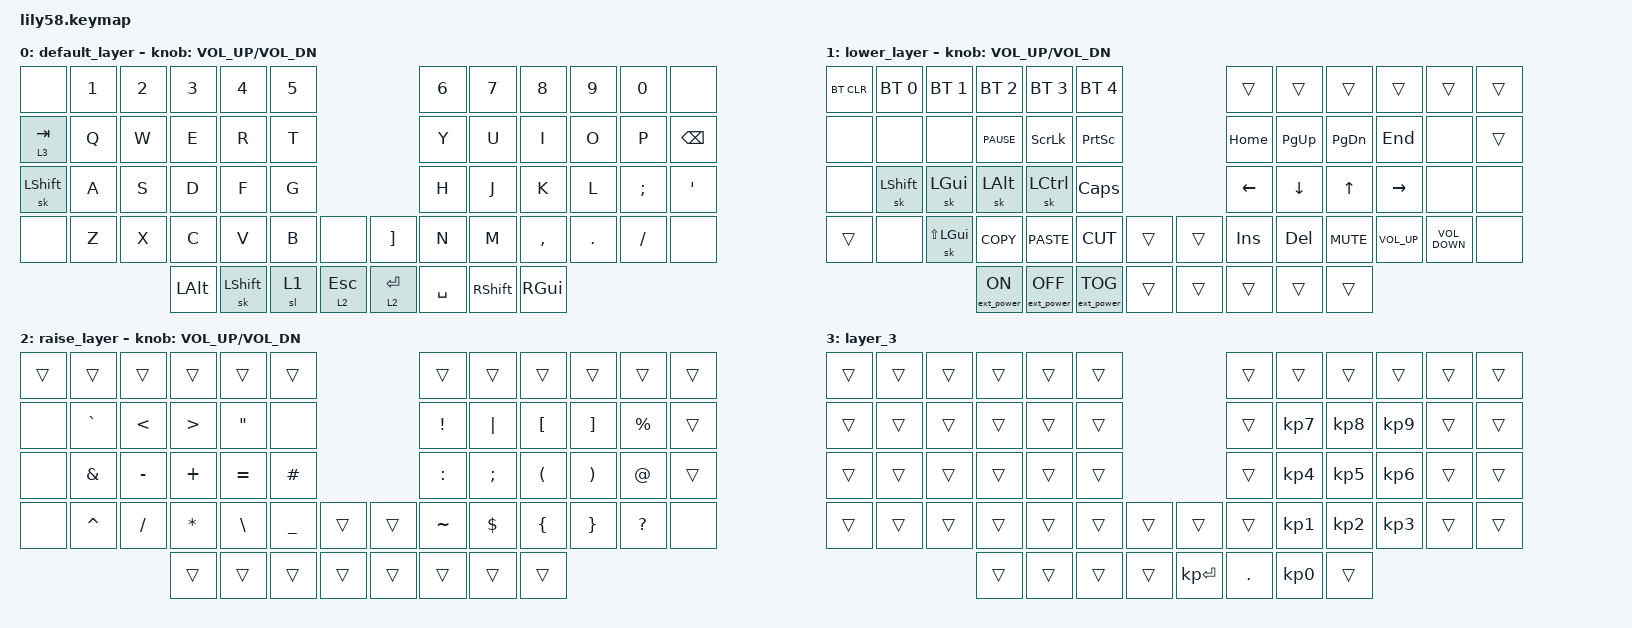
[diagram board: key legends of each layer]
/*
 * Copyright (c) 2020 The ZMK Contributors
 *
 * SPDX-License-Identifier: MIT
 */

#include <behaviors.dtsi>
#include <dt-bindings/zmk/bt.h>
#include <dt-bindings/zmk/ext_power.h>
#include <dt-bindings/zmk/keys.h>

/ {
    combos {
        compatible = "zmk,combos";

        leftctl {
            bindings = <&kp LEFT_CONTROL>;
            key-positions = <28 27>;
        };
    };

    keymap {
        compatible = "zmk,keymap";

        default_layer {
            // ------------------------------------------------------------------------------------------------------------
            // |  ESC  |  1  |  2  |  3   |  4   |  5   |                   |  6   |  7    |  8    |  9   |   0   |   `   |
            // |  TAB  |  Q  |  W  |  E   |  R   |  T   |                   |  Y   |  U    |  I    |  O   |   P   |   -   |
            // |  CTRL |  A  |  S  |  D   |  F   |  G   |                   |  H   |  J    |  K    |  L   |   ;   |   '   |
            // | SHIFT |  Z  |  X  |  C   |  V   |  B   |   "["  |  |  "]"  |  N   |  M    |  ,    |  .   |   /   | SHIFT |
            //                     | ALT  | GUI  | LOWER|  SPACE |  | ENTER | RAISE| BSPC  | GUI   |

            bindings = <
&none           &kp N1  &kp N2  &kp N3    &kp N4          &kp N5                               &kp N6     &kp N7           &kp N8     &kp N9   &kp N0    &none
&lt 3 TAB       &kp Q   &kp W   &kp E     &kp R           &kp T                                &kp Y      &kp U            &kp I      &kp O    &kp P     &kp BACKSPACE
&sk LEFT_SHIFT  &kp A   &kp S   &kp D     &kp F           &kp G                                &kp H      &kp J            &kp K      &kp L    &kp SEMI  &kp SQT
&none           &kp Z   &kp X   &kp C     &kp V           &kp B   &none           &kp RBKT     &kp N      &kp M            &kp COMMA  &kp DOT  &kp FSLH  &none
                                &kp LALT  &sk LEFT_SHIFT  &sl 1   &lt 2 ESCAPE    &lt 2 ENTER  &kp SPACE  &kp RIGHT_SHIFT  &kp RGUI
            >;

            sensor-bindings = <&inc_dec_kp C_VOL_UP C_VOL_DN>;
        };

        lower_layer {
            // ------------------------------------------------------------------------------------------------------------
            // | BTCLR | BT1 | BT2 |  BT3 |  BT4 |  BT5 |                   |      |       |       |      |       |       |
            // |  F1   |  F2 |  F3 |  F4  |  F5  |  F6  |                   |  F7  |  F8   |  F9   |  F10 |  F11  |  F12  |
            // |   `   |  !  |  @  |  #   |  $   |  %   |                   |  ^   |  &    |  *    |  (   |   )   |   ~   |
            // |       |     |     |      |      |      |        |  |       |      |  _    |  +    |  {   |   }   |  "|"  |
            //                     |      |      |      |        |  |       |      |       |       |

            bindings = <
&bt BT_CLR  &bt BT_SEL 0    &bt BT_SEL 1      &bt BT_SEL 2      &bt BT_SEL 3       &bt BT_SEL 4                         &trans          &trans      &trans         &trans           &trans             &trans
&none       &none           &none             &kp C_PAUSE       &kp SCROLLLOCK     &kp PRINTSCREEN                      &kp HOME        &kp PG_UP   &kp PAGE_DOWN  &kp END          &none              &trans
&none       &sk LEFT_SHIFT  &sk LEFT_GUI      &sk LEFT_ALT      &sk LEFT_CONTROL   &kp CAPSLOCK                         &kp LEFT_ARROW  &kp DOWN    &kp UP_ARROW   &kp RIGHT        &none              &none
&trans      &none           &sk LS(LEFT_GUI)  &kp K_COPY        &kp K_PASTE        &kp K_CUT          &trans    &trans  &kp INS         &kp DELETE  &kp C_MUTE     &kp C_VOLUME_UP  &kp C_VOLUME_DOWN  &none
                                              &ext_power EP_ON  &ext_power EP_OFF  &ext_power EP_TOG  &trans    &trans  &trans          &trans      &trans
            >;

            sensor-bindings = <&inc_dec_kp C_VOL_UP C_VOL_DN>;
        };

        raise_layer {
            // ------------------------------------------------------------------------------------------------------------
            // |       |     |     |      |      |      |                   |      |       |       |      |       |       |
            // |   `   |  1  |  2  |  3   |  4   |  5   |                   |  6   |   7   |   8   |  9   |   0   |       |
            // |   F1  |  F2 |  F3 |  F4  |  F5  |  F6  |                   |      |   <-  |   v   |  ^   |  ->   |       |
            // |   F7  |  F8 |  F9 |  F10 |  F11 |  F12 |        |  |       |  +   |   -   |   =   |  [   |   ]   |   \   |
            //                     |      |      |      |        |  |       |      |       |       |

            bindings = <
&trans  &trans     &trans         &trans            &trans             &trans                       &trans     &trans      &trans                &trans                 &trans       &trans
&none   &kp GRAVE  &kp LESS_THAN  &kp GREATER_THAN  &kp DOUBLE_QUOTES  &none                        &kp EXCL   &kp PIPE    &kp LEFT_BRACKET      &kp RIGHT_BRACKET      &kp PERCENT  &trans
&none   &kp AMPS   &kp MINUS      &kp PLUS          &kp EQUAL          &kp POUND                    &kp COLON  &kp SEMI    &kp LEFT_PARENTHESIS  &kp RIGHT_PARENTHESIS  &kp AT       &trans
&none   &kp CARET  &kp SLASH      &kp ASTERISK      &kp BACKSLASH      &kp UNDER  &trans    &trans  &kp TILDE  &kp DOLLAR  &kp LEFT_BRACE        &kp RIGHT_BRACE        &kp QMARK    &none
                                  &trans            &trans             &trans     &trans    &trans  &trans     &trans      &trans
            >;

            sensor-bindings = <&inc_dec_kp C_VOL_UP C_VOL_DN>;
        };

        layer_3 {
            bindings = <
&trans  &trans  &trans  &trans  &trans  &trans                          &trans      &trans           &trans           &trans           &trans  &trans
&trans  &trans  &trans  &trans  &trans  &trans                          &trans      &kp KP_NUMBER_7  &kp KP_NUMBER_8  &kp KP_NUMBER_9  &trans  &trans
&trans  &trans  &trans  &trans  &trans  &trans                          &trans      &kp KP_NUMBER_4  &kp KP_NUMBER_5  &kp KP_NUMBER_6  &trans  &trans
&trans  &trans  &trans  &trans  &trans  &trans  &trans    &trans        &trans      &kp KP_NUMBER_1  &kp KP_NUMBER_2  &kp KP_NUMBER_3  &trans  &trans
                        &trans  &trans  &trans  &trans    &kp KP_ENTER  &kp PERIOD  &kp KP_NUMBER_0  &trans
            >;
        };
    };
};
